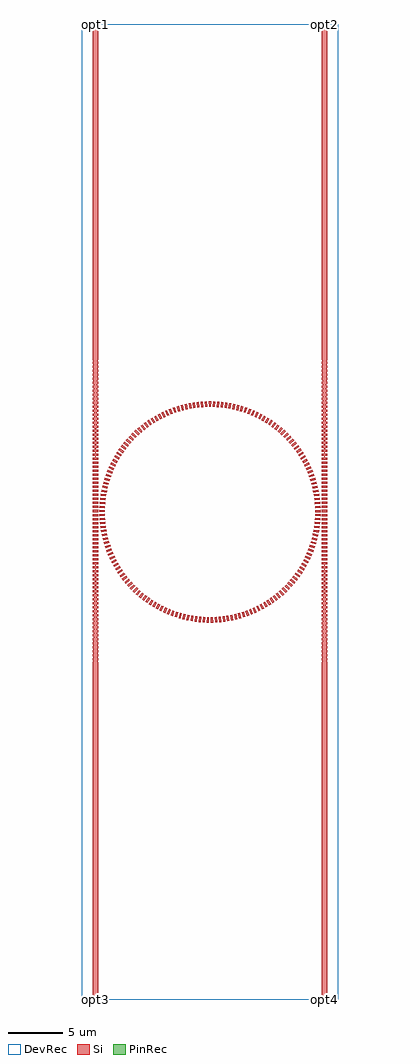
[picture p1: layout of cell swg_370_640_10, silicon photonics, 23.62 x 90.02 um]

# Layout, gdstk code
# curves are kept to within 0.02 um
import gdstk
lib = gdstk.Library(unit=1e-6, precision=1e-09)
def R(c, l, rs):  # rectangles x0, y0, x1, y1
    for r in rs: c.add(gdstk.rectangle(r[:2], r[2:], *l))
def A(c, l, x, y, w, h, nx, ny, dx, dy):  # array of equal rectangles
    R(c, l, [(x+i*dx, y+j*dy, x+i*dx+w, y+j*dy+h) for i in range(nx) for j in range(ny)])
def P(c, l, *ps):  # polygons
    for p in ps: c.add(gdstk.Polygon(p, *l))
Si = (1, 0)
PinRec = (1, 10)
DevRec = (68, 0)

swg_370_640_10 = lib.new_cell('swg_370_640_10')
A(swg_370_640_10, Si, 0, 40.56, 0.5, 0.185, 1, 25, 0, 0.37)
A(swg_370_640_10, Si, 21.124, 40.56, 0.5, 0.185, 1, 25, 0, 0.37)
P(swg_370_640_10, Si, [(0,49.81),(0,49.995),(0.22,49.995),(0.216,50.18),(0,50.18),(0,50.365),(0.212,50.365),(0.208,50.55),(0,50.55),(0,50.735),(0.203,50.735),(0.199,50.92),(0,50.92),(0,51.105),(0.195,51.105),(0.191,51.29),(0,51.29),(0,51.475),(0.187,51.475),(0.183,51.66),(0,51.66),(0,51.845),(0.179,51.845),(0.175,52.03),(0,52.03),(0,52.215),(0.171,52.215),(0.167,52.4),(0,52.4),(0,52.585),(0.163,52.585),(0.159,52.77),(0,52.77),(0,52.955),(0.155,52.955),(0.151,53.14),(0,53.14),(0,53.325),(0.147,53.325),(0.142,53.51),(0,53.51),(0,53.695),(0.138,53.695),(0.134,53.88),(0,53.88),(0,54.065),(0.13,54.065),(0.126,54.25),(0,54.25),(0,54.435),(0.122,54.435),(0.118,54.62),(0,54.62),(0,54.805),(0.114,54.805),(0.11,54.99),(0,54.99),(0,55.175),(0.106,55.175),(0.102,55.36),(0,55.36),(0,55.545),(0.098,55.545),(0.094,55.73),(0,55.73),(0,55.915),(0.09,55.915),(0.085,56.1),(0,56.1),(0,56.285),(0.081,56.285),(0.077,56.47),(0,56.47),(0,56.655),(0.073,56.655),(0.069,56.84),(0,56.84),(0,57.025),(0.065,57.025),(0.061,57.21),(0,57.21),(0,57.395),(0.057,57.395),(0.053,57.58),(0,57.58),(0,57.765),(0.049,57.765),(0.045,57.95),(0,57.95),(0,58.135),(0.041,58.135),(0.037,58.32),(0,58.32),(0,58.505),(0.033,58.505),(0.028,58.69),(0,58.69),(0,58.875),(0.024,58.875),(0,59.06),(0,90),(0.5,90),(0.5,59.06),(0.476,58.875),(0.5,58.875),(0.5,58.69),(0.472,58.69),(0.467,58.505),(0.5,58.505),(0.5,58.32),(0.463,58.32),(0.459,58.135),(0.5,58.135),(0.5,57.95),(0.455,57.95),(0.451,57.765),(0.5,57.765),(0.5,57.58),(0.447,57.58),(0.443,57.395),(0.5,57.395),(0.5,57.21),(0.439,57.21),(0.435,57.025),(0.5,57.025),(0.5,56.84),(0.431,56.84),(0.427,56.655),(0.5,56.655),(0.5,56.47),(0.423,56.47),(0.419,56.285),(0.5,56.285),(0.5,56.1),(0.415,56.1),(0.41,55.915),(0.5,55.915),(0.5,55.73),(0.406,55.73),(0.402,55.545),(0.5,55.545),(0.5,55.36),(0.398,55.36),(0.394,55.175),(0.5,55.175),(0.5,54.99),(0.39,54.99),(0.386,54.805),(0.5,54.805),(0.5,54.62),(0.382,54.62),(0.378,54.435),(0.5,54.435),(0.5,54.25),(0.374,54.25),(0.37,54.065),(0.5,54.065),(0.5,53.88),(0.366,53.88),(0.362,53.695),(0.5,53.695),(0.5,53.51),(0.358,53.51),(0.353,53.325),(0.5,53.325),(0.5,53.14),(0.349,53.14),(0.345,52.955),(0.5,52.955),(0.5,52.77),(0.341,52.77),(0.337,52.585),(0.5,52.585),(0.5,52.4),(0.333,52.4),(0.329,52.215),(0.5,52.215),(0.5,52.03),(0.325,52.03),(0.321,51.845),(0.5,51.845),(0.5,51.66),(0.317,51.66),(0.313,51.475),(0.5,51.475),(0.5,51.29),(0.309,51.29),(0.305,51.105),(0.5,51.105),(0.5,50.92),(0.301,50.92),(0.296,50.735),(0.5,50.735),(0.5,50.55),(0.292,50.55),(0.288,50.365),(0.5,50.365),(0.5,50.18),(0.284,50.18),(0.28,49.995),(0.5,49.995),(0.5,49.81)],
  [(21.124,49.81),(21.124,49.995),(21.344,49.995),(21.34,50.18),(21.124,50.18),(21.124,50.365),(21.336,50.365),(21.332,50.55),(21.124,50.55),(21.124,50.735),(21.327,50.735),(21.323,50.92),(21.124,50.92),(21.124,51.105),(21.319,51.105),(21.315,51.29),(21.124,51.29),(21.124,51.475),(21.311,51.475),(21.307,51.66),(21.124,51.66),(21.124,51.845),(21.303,51.845),(21.299,52.03),(21.124,52.03),(21.124,52.215),(21.295,52.215),(21.291,52.4),(21.124,52.4),(21.124,52.585),(21.287,52.585),(21.283,52.77),(21.124,52.77),(21.124,52.955),(21.279,52.955),(21.275,53.14),(21.124,53.14),(21.124,53.325),(21.271,53.325),(21.266,53.51),(21.124,53.51),(21.124,53.695),(21.262,53.695),(21.258,53.88),(21.124,53.88),(21.124,54.065),(21.254,54.065),(21.25,54.25),(21.124,54.25),(21.124,54.435),(21.246,54.435),(21.242,54.62),(21.124,54.62),(21.124,54.805),(21.238,54.805),(21.234,54.99),(21.124,54.99),(21.124,55.175),(21.23,55.175),(21.226,55.36),(21.124,55.36),(21.124,55.545),(21.222,55.545),(21.218,55.73),(21.124,55.73),(21.124,55.915),(21.214,55.915),(21.209,56.1),(21.124,56.1),(21.124,56.285),(21.205,56.285),(21.201,56.47),(21.124,56.47),(21.124,56.655),(21.197,56.655),(21.193,56.84),(21.124,56.84),(21.124,57.025),(21.189,57.025),(21.185,57.21),(21.124,57.21),(21.124,57.395),(21.181,57.395),(21.177,57.58),(21.124,57.58),(21.124,57.765),(21.173,57.765),(21.169,57.95),(21.124,57.95),(21.124,58.135),(21.165,58.135),(21.161,58.32),(21.124,58.32),(21.124,58.505),(21.157,58.505),(21.152,58.69),(21.124,58.69),(21.124,58.875),(21.148,58.875),(21.124,59.06),(21.124,90),(21.624,90),(21.624,59.06),(21.6,58.875),(21.624,58.875),(21.624,58.69),(21.596,58.69),(21.591,58.505),(21.624,58.505),(21.624,58.32),(21.587,58.32),(21.583,58.135),(21.624,58.135),(21.624,57.95),(21.579,57.95),(21.575,57.765),(21.624,57.765),(21.624,57.58),(21.571,57.58),(21.567,57.395),(21.624,57.395),(21.624,57.21),(21.563,57.21),(21.559,57.025),(21.624,57.025),(21.624,56.84),(21.555,56.84),(21.551,56.655),(21.624,56.655),(21.624,56.47),(21.547,56.47),(21.543,56.285),(21.624,56.285),(21.624,56.1),(21.539,56.1),(21.534,55.915),(21.624,55.915),(21.624,55.73),(21.53,55.73),(21.526,55.545),(21.624,55.545),(21.624,55.36),(21.522,55.36),(21.518,55.175),(21.624,55.175),(21.624,54.99),(21.514,54.99),(21.51,54.805),(21.624,54.805),(21.624,54.62),(21.506,54.62),(21.502,54.435),(21.624,54.435),(21.624,54.25),(21.498,54.25),(21.494,54.065),(21.624,54.065),(21.624,53.88),(21.49,53.88),(21.486,53.695),(21.624,53.695),(21.624,53.51),(21.482,53.51),(21.477,53.325),(21.624,53.325),(21.624,53.14),(21.473,53.14),(21.469,52.955),(21.624,52.955),(21.624,52.77),(21.465,52.77),(21.461,52.585),(21.624,52.585),(21.624,52.4),(21.457,52.4),(21.453,52.215),(21.624,52.215),(21.624,52.03),(21.449,52.03),(21.445,51.845),(21.624,51.845),(21.624,51.66),(21.441,51.66),(21.437,51.475),(21.624,51.475),(21.624,51.29),(21.433,51.29),(21.429,51.105),(21.624,51.105),(21.624,50.92),(21.425,50.92),(21.42,50.735),(21.624,50.735),(21.624,50.55),(21.416,50.55),(21.412,50.365),(21.624,50.365),(21.624,50.18),(21.408,50.18),(21.404,49.995),(21.624,49.995),(21.624,49.81)],
  [(10.724,54.702),(10.719,55.202),(10.909,55.202),(10.904,54.702)],
  [(5.603,53.185),(5.335,53.607),(5.496,53.707),(5.756,53.281)],
  [(10.363,54.692),(10.34,55.191),(10.529,55.198),(10.543,54.698)],
  [(7.206,54.007),(7.02,54.471),(7.196,54.54),(7.374,54.072)],
  [(6.873,53.867),(6.67,54.323),(6.844,54.399),(7.039,53.938)],
  [(3.673,51.569),(3.305,51.908),(3.434,52.046),(3.796,51.701)],
  [(8.23,54.352),(8.097,54.834),(8.281,54.883),(8.405,54.399)],
  [(3.433,51.3),(3.053,51.624),(3.178,51.767),(3.552,51.436)],
  [(8.932,54.518),(8.835,55.009),(9.022,55.044),(9.109,54.551)],
  [(2.061,49.189),(1.61,49.405),(1.693,49.575),(2.14,49.351)],
  [(2.986,50.734),(2.583,51.03),(2.696,51.181),(3.094,50.879)],
  [(1.911,48.861),(1.453,49.06),(1.53,49.233),(1.985,49.026)],
  [(4.725,52.555),(4.411,52.944),(4.56,53.062),(4.866,52.666)],
  [(0.61,45.004),(0.612,45.193),(1.112,45.184),(1.11,45.004)],
  [(2.223,49.511),(1.78,49.744),(1.87,49.911),(2.308,49.67)],
  [(1.351,47.15),(0.864,47.26),(0.907,47.445),(1.393,47.325)],
  [(3.922,51.83),(3.567,52.182),(3.701,52.316),(4.05,51.957)],
  [(4.18,52.082),(3.839,52.447),(3.978,52.575),(4.313,52.204)],
  [(9.644,54.631),(9.584,55.128),(9.773,55.149),(9.824,54.651)],
  [(1.438,47.5),(0.954,47.628),(1.005,47.811),(1.486,47.673)],
  [(1.117,45.364),(0.617,45.383),(0.626,45.572),(1.125,45.544)],
  [(2.396,49.827),(1.963,50.076),(2.058,50.24),(2.488,49.983)],
  [(5.01,52.776),(4.711,53.176),(4.864,53.288),(5.155,52.882)],
  [(5.303,52.986),(5.019,53.397),(5.176,53.504),(5.452,53.087)],
  [(1.537,47.846),(1.059,47.993),(1.116,48.174),(1.591,48.018)],
  [(2.582,50.137),(2.157,50.402),(2.259,50.562),(2.678,50.289)],
  [(1.137,45.724),(0.639,45.761),(0.654,45.95),(1.152,45.904)],
  [(6.226,53.549),(5.989,53.99),(6.157,54.078),(6.385,53.633)],
  [(6.547,53.714),(6.327,54.163),(6.498,54.245),(6.709,53.792)],
  [(9.287,54.581),(9.209,55.075),(9.396,55.103),(9.466,54.608)],
  [(1.171,46.083),(0.674,46.139),(0.697,46.327),(1.193,46.262)],
  [(1.218,46.441),(0.723,46.515),(0.753,46.702),(1.246,46.619)],
  [(10.003,54.668),(9.962,55.166),(10.151,55.18),(10.183,54.682)],
  [(7.543,54.135),(7.374,54.605),(7.554,54.668),(7.713,54.194)],
  [(5.911,53.373),(5.659,53.805),(5.823,53.899),(6.068,53.463)],
  [(7.885,54.25),(7.734,54.726),(7.915,54.782),(8.057,54.303)],
  [(1.278,46.796),(0.786,46.889),(0.823,47.075),(1.313,46.973)],
  [(2.778,50.439),(2.364,50.72),(2.472,50.876),(2.881,50.588)],
  [(8.58,54.442),(8.465,54.928),(8.65,54.97),(8.756,54.482)],
  [(4.448,52.323),(4.12,52.701),(4.264,52.824),(4.585,52.44)],
  [(3.204,51.021),(2.812,51.331),(2.931,51.479),(3.318,51.161)],
  [(1.774,48.527),(1.308,48.709),(1.379,48.885),(1.841,48.695)],
  [(1.649,48.189),(1.177,48.353),(1.241,48.532),(1.71,48.359)],
  [(17.954,51.567),(17.83,51.698),(18.192,52.044),(18.322,51.905)],
  [(14.084,54.133),(13.914,54.193),(14.074,54.666),(14.253,54.604)],
  [(11.624,54.668),(11.444,54.681),(11.477,55.18),(11.666,55.166)],
  [(16.902,52.552),(16.761,52.664),(17.067,53.059),(17.216,52.942)],
  [(20.454,46.08),(20.432,46.259),(20.928,46.324),(20.951,46.135)],
  [(17.705,51.828),(17.577,51.955),(17.925,52.313),(18.06,52.18)],
  [(19.851,48.524),(19.784,48.692),(20.247,48.882),(20.317,48.706)],
  [(17.446,52.079),(17.314,52.201),(17.649,52.572),(17.788,52.444)],
  [(12.34,54.581),(12.162,54.608),(12.231,55.103),(12.419,55.075)],
  [(17.179,52.321),(17.041,52.438),(17.362,52.821),(17.507,52.698)],
  [(20.187,47.496),(20.139,47.67),(20.62,47.808),(20.67,47.625)],
  [(11.983,54.631),(11.804,54.651),(11.855,55.149),(12.043,55.127)],
  [(16.024,53.183),(15.871,53.279),(16.131,53.705),(16.292,53.605)],
  [(15.081,53.712),(14.918,53.79),(15.13,54.243),(15.301,54.161)],
  [(20.507,45.361),(20.499,45.541),(20.998,45.569),(21.007,45.379)],
  [(20.347,46.793),(20.312,46.97),(20.801,47.071),(20.838,46.885)],
  [(19.044,50.134),(18.947,50.286),(19.367,50.558),(19.469,50.399)],
  [(16.324,52.984),(16.175,53.085),(16.451,53.502),(16.608,53.395)],
  [(20.407,46.437),(20.379,46.615),(20.872,46.699),(20.901,46.511)],
  [(20.088,47.843),(20.034,48.015),(20.509,48.17),(20.566,47.989)],
  [(20.487,45.721),(20.472,45.9),(20.97,45.947),(20.986,45.758)],
  [(15.716,53.371),(15.56,53.461),(15.804,53.897),(15.969,53.803)],
  [(18.64,50.731),(18.532,50.876),(18.93,51.179),(19.044,51.027)],
  [(13.397,54.351),(13.223,54.398),(13.347,54.882),(13.53,54.833)],
  [(20.514,45),(20.512,45.18),(21.012,45.19),(21.014,45)],
  [(18.848,50.436),(18.745,50.585),(19.154,50.873),(19.262,50.717)],
  [(19.976,48.186),(19.915,48.356),(20.384,48.528),(20.448,48.35)],
  [(13.048,54.441),(12.872,54.481),(12.978,54.969),(13.163,54.927)],
  [(18.193,51.297),(18.075,51.433),(18.449,51.765),(18.573,51.621)],
  [(18.422,51.018),(18.309,51.159),(18.695,51.476),(18.814,51.328)],
  [(12.695,54.517),(12.518,54.551),(12.606,55.043),(12.792,55.008)],
  [(13.743,54.249),(13.57,54.302),(13.712,54.781),(13.894,54.725)],
  [(15.401,53.548),(15.242,53.632),(15.47,54.076),(15.638,53.988)],
  [(14.422,54.005),(14.254,54.071),(14.431,54.538),(14.608,54.47)],
  [(20.274,47.146),(20.232,47.322),(20.718,47.441),(20.761,47.257)],
  [(11.264,54.691),(11.084,54.698),(11.098,55.198),(11.288,55.191)],
  [(19.229,49.824),(19.138,49.98),(19.567,50.237),(19.663,50.073)],
  [(19.714,48.858),(19.641,49.022),(20.096,49.23),(20.173,49.056)],
  [(16.617,52.774),(16.472,52.88),(16.763,53.286),(16.916,53.174)],
  [(19.403,49.508),(19.318,49.667),(19.756,49.908),(19.846,49.741)],
  [(19.565,49.186),(19.485,49.348),(19.932,49.572),(20.016,49.402)],
  [(14.754,53.865),(14.588,53.937),(14.783,54.397),(14.957,54.322)],
  [(0,0),(0,31.125),(0.024,31.31),(0,31.31),(0,31.495),(0.028,31.495),(0.033,31.68),(0,31.68),(0,31.865),(0.037,31.865),(0.041,32.05),(0,32.05),(0,32.235),(0.045,32.235),(0.049,32.42),(0,32.42),(0,32.605),(0.053,32.605),(0.057,32.79),(0,32.79),(0,32.975),(0.061,32.975),(0.065,33.16),(0,33.16),(0,33.345),(0.069,33.345),(0.073,33.53),(0,33.53),(0,33.715),(0.077,33.715),(0.081,33.9),(0,33.9),(0,34.085),(0.085,34.085),(0.09,34.27),(0,34.27),(0,34.455),(0.094,34.455),(0.098,34.64),(0,34.64),(0,34.825),(0.102,34.825),(0.106,35.01),(0,35.01),(0,35.195),(0.11,35.195),(0.114,35.38),(0,35.38),(0,35.565),(0.118,35.565),(0.122,35.75),(0,35.75),(0,35.935),(0.126,35.935),(0.13,36.12),(0,36.12),(0,36.305),(0.134,36.305),(0.138,36.49),(0,36.49),(0,36.675),(0.142,36.675),(0.147,36.86),(0,36.86),(0,37.045),(0.151,37.045),(0.155,37.23),(0,37.23),(0,37.415),(0.159,37.415),(0.163,37.6),(0,37.6),(0,37.785),(0.167,37.785),(0.171,37.97),(0,37.97),(0,38.155),(0.175,38.155),(0.179,38.34),(0,38.34),(0,38.525),(0.183,38.525),(0.187,38.71),(0,38.71),(0,38.895),(0.191,38.895),(0.195,39.08),(0,39.08),(0,39.265),(0.199,39.265),(0.203,39.45),(0,39.45),(0,39.635),(0.208,39.635),(0.212,39.82),(0,39.82),(0,40.005),(0.216,40.005),(0.22,40.19),(0,40.19),(0,40.375),(0.5,40.375),(0.5,40.19),(0.28,40.19),(0.284,40.005),(0.5,40.005),(0.5,39.82),(0.288,39.82),(0.292,39.635),(0.5,39.635),(0.5,39.45),(0.296,39.45),(0.301,39.265),(0.5,39.265),(0.5,39.08),(0.305,39.08),(0.309,38.895),(0.5,38.895),(0.5,38.71),(0.313,38.71),(0.317,38.525),(0.5,38.525),(0.5,38.34),(0.321,38.34),(0.325,38.155),(0.5,38.155),(0.5,37.97),(0.329,37.97),(0.333,37.785),(0.5,37.785),(0.5,37.6),(0.337,37.6),(0.341,37.415),(0.5,37.415),(0.5,37.23),(0.345,37.23),(0.349,37.045),(0.5,37.045),(0.5,36.86),(0.353,36.86),(0.358,36.675),(0.5,36.675),(0.5,36.49),(0.362,36.49),(0.366,36.305),(0.5,36.305),(0.5,36.12),(0.37,36.12),(0.374,35.935),(0.5,35.935),(0.5,35.75),(0.378,35.75),(0.382,35.565),(0.5,35.565),(0.5,35.38),(0.386,35.38),(0.39,35.195),(0.5,35.195),(0.5,35.01),(0.394,35.01),(0.398,34.825),(0.5,34.825),(0.5,34.64),(0.402,34.64),(0.406,34.455),(0.5,34.455),(0.5,34.27),(0.41,34.27),(0.415,34.085),(0.5,34.085),(0.5,33.9),(0.419,33.9),(0.423,33.715),(0.5,33.715),(0.5,33.53),(0.427,33.53),(0.431,33.345),(0.5,33.345),(0.5,33.16),(0.435,33.16),(0.439,32.975),(0.5,32.975),(0.5,32.79),(0.443,32.79),(0.447,32.605),(0.5,32.605),(0.5,32.42),(0.451,32.42),(0.455,32.235),(0.5,32.235),(0.5,32.05),(0.459,32.05),(0.463,31.865),(0.5,31.865),(0.5,31.68),(0.467,31.68),(0.472,31.495),(0.5,31.495),(0.5,31.31),(0.476,31.31),(0.5,31.125),(0.5,0)],
  [(21.124,0),(21.124,31.125),(21.148,31.31),(21.124,31.31),(21.124,31.495),(21.152,31.495),(21.157,31.68),(21.124,31.68),(21.124,31.865),(21.161,31.865),(21.165,32.05),(21.124,32.05),(21.124,32.235),(21.169,32.235),(21.173,32.42),(21.124,32.42),(21.124,32.605),(21.177,32.605),(21.181,32.79),(21.124,32.79),(21.124,32.975),(21.185,32.975),(21.189,33.16),(21.124,33.16),(21.124,33.345),(21.193,33.345),(21.197,33.53),(21.124,33.53),(21.124,33.715),(21.201,33.715),(21.205,33.9),(21.124,33.9),(21.124,34.085),(21.209,34.085),(21.214,34.27),(21.124,34.27),(21.124,34.455),(21.218,34.455),(21.222,34.64),(21.124,34.64),(21.124,34.825),(21.226,34.825),(21.23,35.01),(21.124,35.01),(21.124,35.195),(21.234,35.195),(21.238,35.38),(21.124,35.38),(21.124,35.565),(21.242,35.565),(21.246,35.75),(21.124,35.75),(21.124,35.935),(21.25,35.935),(21.254,36.12),(21.124,36.12),(21.124,36.305),(21.258,36.305),(21.262,36.49),(21.124,36.49),(21.124,36.675),(21.266,36.675),(21.271,36.86),(21.124,36.86),(21.124,37.045),(21.275,37.045),(21.279,37.23),(21.124,37.23),(21.124,37.415),(21.283,37.415),(21.287,37.6),(21.124,37.6),(21.124,37.785),(21.291,37.785),(21.295,37.97),(21.124,37.97),(21.124,38.155),(21.299,38.155),(21.303,38.34),(21.124,38.34),(21.124,38.525),(21.307,38.525),(21.311,38.71),(21.124,38.71),(21.124,38.895),(21.315,38.895),(21.319,39.08),(21.124,39.08),(21.124,39.265),(21.323,39.265),(21.327,39.45),(21.124,39.45),(21.124,39.635),(21.332,39.635),(21.336,39.82),(21.124,39.82),(21.124,40.005),(21.34,40.005),(21.344,40.19),(21.124,40.19),(21.124,40.375),(21.624,40.375),(21.624,40.19),(21.404,40.19),(21.408,40.005),(21.624,40.005),(21.624,39.82),(21.412,39.82),(21.416,39.635),(21.624,39.635),(21.624,39.45),(21.42,39.45),(21.425,39.265),(21.624,39.265),(21.624,39.08),(21.429,39.08),(21.433,38.895),(21.624,38.895),(21.624,38.71),(21.437,38.71),(21.441,38.525),(21.624,38.525),(21.624,38.34),(21.445,38.34),(21.449,38.155),(21.624,38.155),(21.624,37.97),(21.453,37.97),(21.457,37.785),(21.624,37.785),(21.624,37.6),(21.461,37.6),(21.465,37.415),(21.624,37.415),(21.624,37.23),(21.469,37.23),(21.473,37.045),(21.624,37.045),(21.624,36.86),(21.477,36.86),(21.482,36.675),(21.624,36.675),(21.624,36.49),(21.486,36.49),(21.49,36.305),(21.624,36.305),(21.624,36.12),(21.494,36.12),(21.498,35.935),(21.624,35.935),(21.624,35.75),(21.502,35.75),(21.506,35.565),(21.624,35.565),(21.624,35.38),(21.51,35.38),(21.514,35.195),(21.624,35.195),(21.624,35.01),(21.518,35.01),(21.522,34.825),(21.624,34.825),(21.624,34.64),(21.526,34.64),(21.53,34.455),(21.624,34.455),(21.624,34.27),(21.534,34.27),(21.539,34.085),(21.624,34.085),(21.624,33.9),(21.543,33.9),(21.547,33.715),(21.624,33.715),(21.624,33.53),(21.551,33.53),(21.555,33.345),(21.624,33.345),(21.624,33.16),(21.559,33.16),(21.563,32.975),(21.624,32.975),(21.624,32.79),(21.567,32.79),(21.571,32.605),(21.624,32.605),(21.624,32.42),(21.575,32.42),(21.579,32.235),(21.624,32.235),(21.624,32.05),(21.583,32.05),(21.587,31.865),(21.624,31.865),(21.624,31.68),(21.591,31.68),(21.596,31.495),(21.624,31.495),(21.624,31.31),(21.6,31.31),(21.624,31.125),(21.624,0)],
  [(14.95,35.675),(14.747,36.132),(14.912,36.207),(15.123,35.754)],
  [(13.156,35.071),(13.041,35.558),(13.216,35.601),(13.34,35.116)],
  [(17.21,37.054),(16.897,37.443),(17.036,37.558),(17.357,37.174)],
  [(20.9,43.481),(20.406,43.556),(20.431,43.734),(20.927,43.669)],
  [(15.294,35.835),(15.074,36.284),(15.236,36.365),(15.463,35.92)],
  [(17.501,37.297),(17.173,37.675),(17.308,37.794),(17.643,37.423)],
  [(16.286,36.391),(16.018,36.813),(16.169,36.911),(16.445,36.494)],
  [(19.258,39.277),(18.844,39.558),(18.944,39.708),(19.363,39.435)],
  [(20.76,42.736),(20.272,42.847),(20.31,43.023),(20.8,42.921)],
  [(14.246,35.393),(14.078,35.864),(14.247,35.927),(14.424,35.459)],
  [(14.601,35.528),(14.415,35.992),(14.582,36.06),(14.776,35.6)],
  [(20.314,41.287),(19.849,41.469),(19.913,41.638),(20.382,41.465)],
  [(13.523,35.165),(13.39,35.647),(13.564,35.696),(13.705,35.217)],
  [(18.317,38.089),(17.949,38.428),(18.07,38.562),(18.444,38.23)],
  [(15.962,36.194),(15.71,36.625),(15.865,36.718),(16.125,36.291)],
  [(11.28,34.809),(11.257,35.308),(11.437,35.318),(11.47,34.819)],
  [(13.887,35.272),(13.736,35.749),(13.907,35.805),(14.067,35.331)],
  [(18.568,38.373),(18.188,38.698),(18.304,38.836),(18.69,38.518)],
  [(19.842,40.253),(19.4,40.486),(19.482,40.646),(19.929,40.422)],
  [(16.91,36.821),(16.612,37.222),(16.755,37.331),(17.061,36.936)],
  [(19.039,38.967),(18.636,39.263),(18.741,39.41),(19.15,39.121)],
  [(11.659,34.833),(11.617,35.332),(11.797,35.348),(11.848,34.851)],
  [(20.446,41.643),(19.974,41.808),(20.031,41.978),(20.507,41.823)],
  [(12.785,34.991),(12.688,35.481),(12.865,35.518),(12.971,35.029)],
  [(20.95,43.857),(20.453,43.913),(20.471,44.093),(20.969,44.046)],
  [(19.66,39.921),(19.226,40.169),(19.314,40.327),(19.752,40.086)],
  [(20.012,40.592),(19.561,40.808),(19.638,40.971),(20.093,40.764)],
  [(15.631,36.008),(15.395,36.449),(15.553,36.536),(15.798,36.099)],
  [(20.669,42.368),(20.186,42.497),(20.23,42.672),(20.716,42.552)],
  [(18.055,37.815),(17.7,38.167),(17.826,38.296),(18.187,37.951)],
  [(20.985,44.235),(20.487,44.272),(20.498,44.452),(20.998,44.424)],
  [(20.17,40.937),(19.711,41.136),(19.782,41.302),(20.244,41.111)],
  [(18.809,38.666),(18.417,38.976),(18.528,39.119),(18.926,38.816)],
  [(12.412,34.924),(12.333,35.418),(12.511,35.448),(12.599,34.956)],
  [(19.465,39.595),(19.041,39.86),(19.135,40.014),(19.564,39.757)],
  [(20.564,42.003),(20.086,42.15),(20.137,42.323),(20.618,42.185)],
  [(20.837,43.107),(20.346,43.2),(20.377,43.378),(20.87,43.294)],
  [(12.036,34.872),(11.976,35.368),(12.155,35.391),(12.224,34.896)],
  [(16.602,36.6),(16.318,37.012),(16.466,37.116),(16.757,36.709)],
  [(21.007,44.613),(20.507,44.632),(20.512,44.813),(21.012,44.803)],
  [(17.783,37.551),(17.441,37.916),(17.572,38.04),(17.92,37.682)],
  [(10.901,34.798),(10.897,35.298),(11.077,35.302),(11.091,34.802)],
  [(1.959,39.93),(1.866,40.096),(2.305,40.336),(2.393,40.179)],
  [(7.367,35.397),(7.19,35.463),(7.367,35.93),(7.536,35.868)],
  [(1.45,40.947),(1.376,41.122),(1.838,41.312),(1.909,41.146)],
  [(1.057,42.014),(1.003,42.196),(1.484,42.333),(1.535,42.16)],
  [(5.983,36.013),(5.817,36.105),(6.061,36.541),(6.219,36.454)],
  [(9.201,34.926),(9.014,34.958),(9.103,35.45),(9.28,35.42)],
  [(1.777,40.263),(1.69,40.431),(2.137,40.655),(2.219,40.495)],
  [(3.561,37.823),(3.429,37.959),(3.791,38.304),(3.917,38.175)],
  [(7.727,35.276),(7.547,35.335),(7.707,35.808),(7.878,35.752)],
  [(9.954,34.834),(9.765,34.852),(9.817,35.349),(9.996,35.332)],
  [(0.722,43.492),(0.696,43.68),(1.192,43.745),(1.217,43.566)],
  [(4.705,36.828),(4.554,36.943),(4.861,37.338),(5.004,37.229)],
  [(8.458,35.073),(8.273,35.119),(8.398,35.603),(8.573,35.56)],
  [(6.664,35.68),(6.491,35.758),(6.703,36.211),(6.867,36.136)],
  [(1.175,41.654),(1.114,41.833),(1.589,41.988),(1.647,41.818)],
  [(4.405,37.061),(4.259,37.181),(4.58,37.564),(4.719,37.45)],
  [(2.153,39.605),(2.055,39.766),(2.484,40.023),(2.578,39.869)],
  [(0.785,43.118),(0.752,43.305),(1.245,43.388),(1.277,43.21)],
  [(2.578,38.976),(2.468,39.13),(2.877,39.418),(2.982,39.272)],
  [(8.09,35.168),(7.908,35.22),(8.05,35.699),(8.224,35.65)],
  [(0.953,42.379),(0.906,42.562),(1.391,42.682),(1.436,42.507)],
  [(1.607,40.602),(1.527,40.774),(1.982,40.981),(2.058,40.817)],
  [(0.673,43.868),(0.654,44.057),(1.152,44.103),(1.17,43.924)],
  [(0.617,44.625),(0.612,44.814),(1.112,44.823),(1.117,44.643)],
  [(2.36,39.287),(2.255,39.445),(2.675,39.717),(2.774,39.567)],
  [(2.808,38.675),(2.692,38.824),(3.09,39.127),(3.2,38.985)],
  [(4.115,37.304),(3.973,37.43),(4.308,37.801),(4.443,37.681)],
  [(1.306,41.298),(1.238,41.475),(1.708,41.648),(1.771,41.479)],
  [(7.013,35.532),(6.838,35.604),(7.032,36.065),(7.199,35.996)],
  [(0.862,42.747),(0.822,42.932),(1.311,43.034),(1.35,42.857)],
  [(6.32,35.84),(6.151,35.925),(6.379,36.37),(6.54,36.289)],
  [(5.013,36.607),(4.858,36.716),(5.149,37.122),(5.297,37.018)],
  [(3.833,37.558),(3.696,37.689),(4.045,38.048),(4.175,37.923)],
  [(0.638,44.246),(0.626,44.435),(1.125,44.463),(1.137,44.283)],
  [(5.329,36.397),(5.17,36.5),(5.446,36.917),(5.597,36.819)],
  [(10.333,34.809),(10.143,34.82),(10.176,35.319),(10.356,35.309)],
  [(8.828,34.993),(8.642,35.031),(8.749,35.52),(8.925,35.483)],
  [(9.577,34.873),(9.389,34.898),(9.459,35.393),(9.637,35.369)],
  [(3.3,38.097),(3.173,38.238),(3.547,38.57),(3.668,38.436)],
  [(3.048,38.381),(2.927,38.527),(3.313,38.844),(3.429,38.706)],
  [(5.652,36.199),(5.489,36.297),(5.75,36.723),(5.905,36.63)],
  [(10.712,34.799),(10.522,34.802),(10.536,35.302),(10.717,35.299)])
R(swg_370_640_10, DevRec, [(-1,0,22.624,90)])
swg_370_640_10.add(gdstk.FlexPath([(0.25,89.99),(0.25,90.01)], 0.5, ends="flush", simple_path=True, layer=1, datatype=10))  # PinRec
swg_370_640_10.add(gdstk.FlexPath([(21.374,89.99),(21.374,90.01)], 0.5, ends="flush", simple_path=True, layer=1, datatype=10))  # PinRec
swg_370_640_10.add(gdstk.FlexPath([(0.25,0.01),(0.25,-0.01)], 0.5, ends="flush", simple_path=True, layer=1, datatype=10))  # PinRec
swg_370_640_10.add(gdstk.FlexPath([(21.374,0.01),(21.374,-0.01)], 0.5, ends="flush", simple_path=True, layer=1, datatype=10))  # PinRec
swg_370_640_10.add(gdstk.Label('opt1', (0.25,90), layer=1, texttype=10))
swg_370_640_10.add(gdstk.Label('opt2', (21.374,90), layer=1, texttype=10))
swg_370_640_10.add(gdstk.Label('opt3', (0.25,0), layer=1, texttype=10))
swg_370_640_10.add(gdstk.Label('opt4', (21.374,0), layer=1, texttype=10))

lib.write_gds('swg_370_640_10.gds')
